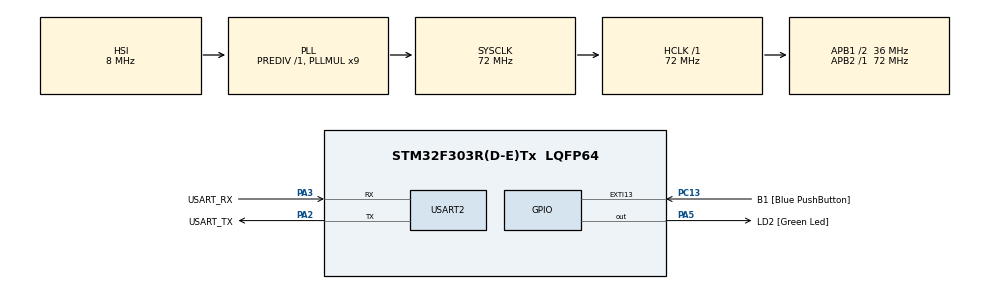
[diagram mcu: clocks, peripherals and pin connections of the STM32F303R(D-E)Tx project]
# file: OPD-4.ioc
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Mcu.Family=STM32F3
Mcu.Name=STM32F303R(D-E)Tx
Mcu.Package=LQFP64
NVIC.PriorityGroup=NVIC_PRIORITYGROUP_0
PA13.GPIO_Label=TMS
PA13.Mode=Serial_Wire
PA13.Signal=SYS_JTMS-SWDIO
PA14.GPIO_Label=TCK
PA14.Mode=Serial_Wire
PA14.Signal=SYS_JTCK-SWCLK
PA2.GPIO_Label=USART_TX
PA2.GPIO_Mode=GPIO_MODE_AF_PP
PA2.GPIO_PuPd=GPIO_NOPULL
PA2.GPIO_Speed=GPIO_SPEED_FREQ_LOW
PA2.Mode=Asynchronous
PA2.Signal=USART2_TX
PA3.GPIO_Label=USART_RX
PA3.GPIO_Mode=GPIO_MODE_AF_PP
PA3.GPIO_PuPd=GPIO_NOPULL
PA3.GPIO_Speed=GPIO_SPEED_FREQ_LOW
PA3.Mode=Asynchronous
PA3.Signal=USART2_RX
PA5.GPIO_Label=LD2 [Green Led]
PA5.GPIO_Mode=GPIO_MODE_OUTPUT_PP
PA5.GPIO_PuPd=GPIO_NOPULL
PA5.GPIO_Speed=GPIO_SPEED_FREQ_LOW
PA5.Signal=GPIO_Output
PB3.GPIO_Label=SWO
PB3.Signal=SYS_JTDO-TRACESWO
PC13.GPIO_Label=B1 [Blue PushButton]
PC13.GPIO_ModeDefaultEXTI=GPIO_MODE_IT_FALLING
PC13.Signal=GPXTI13
PC14-OSC32_IN.Mode=LSE-External-Oscillator
PC14-OSC32_IN.Signal=RCC_OSC32_IN
PC15-OSC32_OUT.Mode=LSE-External-Oscillator
PC15-OSC32_OUT.Signal=RCC_OSC32_OUT
PF0-OSC_IN.Mode=HSE-External-Clock-Source
PF0-OSC_IN.Signal=RCC_OSC_IN
PF1-OSC_OUT.Signal=RCC_OSC_OUT
ProjectManager.HeapSize=0x200
ProjectManager.StackSize=0x400
ProjectManager.TargetToolchain=STM32CubeIDE
RCC.AHBFreq_Value=72000000
RCC.APB1CLKDivider=RCC_HCLK_DIV2
RCC.APB1Freq_Value=36000000
RCC.APB1TimFreq_Value=72000000
RCC.APB2Freq_Value=72000000
RCC.APB2TimFreq_Value=72000000
RCC.CortexFreq_Value=72000000
RCC.HCLKFreq_Value=72000000
RCC.HSE_VALUE=8000000
RCC.HSI_VALUE=8000000
RCC.PLLM=8
RCC.PLLMUL=RCC_PLL_MUL9
RCC.PLLN=336
RCC.PLLP=RCC_PLLP_DIV4
RCC.PLLQ=7
RCC.RCC_PLLsource_Clock_Source_FROM_HSE=RCC_HSE_PREDIV_DIV2
RCC.SYSCLKFreq_VALUE=72000000
RCC.SYSCLKSourceVirtual=RCC_SYSCLKSOURCE_PLLCLK
RCC.USBFreq_Value=72000000
USART2.VirtualMode-Asynchronous=VM_ASYNC
board=NUCLEO-F303RE

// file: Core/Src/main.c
/* USER CODE BEGIN Header */
/**
  ******************************************************************************
  * @file           : main.c
  * @brief          : Main program body
  ******************************************************************************
  * @attention
  *
  * Copyright (c) 2026 STMicroelectronics.
  * All rights reserved.
  *
  * This software is licensed under terms that can be found in the LICENSE file
  * in the root directory of this software component.
  * If no LICENSE file comes with this software, it is provided AS-IS.
  *
  ******************************************************************************
  */
/* USER CODE END Header */
#include "main.h"

/* USER CODE BEGIN Includes */
#include <string.h>
#include <stdlib.h>
/* USER CODE END Includes */

UART_HandleTypeDef huart2;

void SystemClock_Config(void);
static void MX_GPIO_Init(void);
static void MX_USART2_UART_Init(void);

int main(void)
{

  /* MCU Configuration--------------------------------------------------------*/

  /* Reset of all peripherals, Initializes the Flash interface and the Systick. */
  HAL_Init();

  /* Configure the system clock */
  SystemClock_Config();

  /* Initialize all configured peripherals */
  MX_GPIO_Init();
  MX_USART2_UART_Init();

  /* Infinite loop */
  /* USER CODE BEGIN WHILE */
  while (1)
  {
    const char *prompt = "\r\nVoer een waarde in: ";
    const char *resultPrefix = "\r\nAantal knippers: ";
    const char *newline = "\r\n";
    char inputBuffer[12];
    uint8_t rxChar = 0;
    uint8_t index = 0;
    int blinkCount = 0;

    HAL_UART_Transmit(&huart2, (uint8_t *)prompt, strlen(prompt), HAL_MAX_DELAY);

    while (1)
    {
      if (HAL_UART_Receive(&huart2, &rxChar, 1, HAL_MAX_DELAY) == HAL_OK)
      {
        if ((rxChar == '\r') || (rxChar == '\n'))
        {
          HAL_UART_Transmit(&huart2, (uint8_t *)newline, strlen(newline), HAL_MAX_DELAY);
          break;
        }

        if ((rxChar >= '0') && (rxChar <= '9') && (index < (sizeof(inputBuffer) - 1)))
        {
          inputBuffer[index++] = (char)rxChar;
          HAL_UART_Transmit(&huart2, &rxChar, 1, HAL_MAX_DELAY);
        }
      }
    }

    inputBuffer[index] = '\0';
    blinkCount = atoi(inputBuffer);

    HAL_UART_Transmit(&huart2, (uint8_t *)resultPrefix, strlen(resultPrefix), HAL_MAX_DELAY);
    HAL_UART_Transmit(&huart2, (uint8_t *)inputBuffer, strlen(inputBuffer), HAL_MAX_DELAY);
    HAL_UART_Transmit(&huart2, (uint8_t *)newline, strlen(newline), HAL_MAX_DELAY);

    for (int i = 0; i < blinkCount; i++)
    {
      HAL_GPIO_WritePin(LD2_GPIO_Port, LD2_Pin, GPIO_PIN_SET);
      HAL_Delay(200);
      HAL_GPIO_WritePin(LD2_GPIO_Port, LD2_Pin, GPIO_PIN_RESET);
      HAL_Delay(200);
    }
    /* USER CODE END WHILE */

  }
}

void SystemClock_Config(void)
{
  RCC_OscInitTypeDef RCC_OscInitStruct = {0};
  RCC_ClkInitTypeDef RCC_ClkInitStruct = {0};
  RCC_PeriphCLKInitTypeDef PeriphClkInit = {0};

  /** Initializes the RCC Oscillators according to the specified parameters
  * in the RCC_OscInitTypeDef structure.
  */
  RCC_OscInitStruct.OscillatorType = RCC_OSCILLATORTYPE_HSI;
  RCC_OscInitStruct.HSIState = RCC_HSI_ON;
  RCC_OscInitStruct.HSICalibrationValue = RCC_HSICALIBRATION_DEFAULT;
  RCC_OscInitStruct.PLL.PLLState = RCC_PLL_ON;
  RCC_OscInitStruct.PLL.PLLSource = RCC_PLLSOURCE_HSI;
  RCC_OscInitStruct.PLL.PLLMUL = RCC_PLL_MUL9;
  RCC_OscInitStruct.PLL.PREDIV = RCC_PREDIV_DIV1;
  if (HAL_RCC_OscConfig(&RCC_OscInitStruct) != HAL_OK)
  {
    Error_Handler();
  }

  /** Initializes the CPU, AHB and APB buses clocks
  */
  RCC_ClkInitStruct.ClockType = RCC_CLOCKTYPE_HCLK|RCC_CLOCKTYPE_SYSCLK
                              |RCC_CLOCKTYPE_PCLK1|RCC_CLOCKTYPE_PCLK2;
  RCC_ClkInitStruct.SYSCLKSource = RCC_SYSCLKSOURCE_PLLCLK;
  RCC_ClkInitStruct.AHBCLKDivider = RCC_SYSCLK_DIV1;
  RCC_ClkInitStruct.APB1CLKDivider = RCC_HCLK_DIV2;
  RCC_ClkInitStruct.APB2CLKDivider = RCC_HCLK_DIV1;

  if (HAL_RCC_ClockConfig(&RCC_ClkInitStruct, FLASH_LATENCY_2) != HAL_OK)
  {
    Error_Handler();
  }
  PeriphClkInit.PeriphClockSelection = RCC_PERIPHCLK_USART2;
  PeriphClkInit.Usart2ClockSelection = RCC_USART2CLKSOURCE_PCLK1;
  if (HAL_RCCEx_PeriphCLKConfig(&PeriphClkInit) != HAL_OK)
  {
    Error_Handler();
  }
}

static void MX_USART2_UART_Init(void)
{

  huart2.Instance = USART2;
  huart2.Init.BaudRate = 38400;
  huart2.Init.WordLength = UART_WORDLENGTH_8B;
  huart2.Init.StopBits = UART_STOPBITS_1;
  huart2.Init.Parity = UART_PARITY_NONE;
  huart2.Init.Mode = UART_MODE_TX_RX;
  huart2.Init.HwFlowCtl = UART_HWCONTROL_NONE;
  huart2.Init.OverSampling = UART_OVERSAMPLING_16;
  huart2.Init.OneBitSampling = UART_ONE_BIT_SAMPLE_DISABLE;
  huart2.AdvancedInit.AdvFeatureInit = UART_ADVFEATURE_NO_INIT;
  if (HAL_UART_Init(&huart2) != HAL_OK)
  {
    Error_Handler();
  }

}

static void MX_GPIO_Init(void)
{
  GPIO_InitTypeDef GPIO_InitStruct = {0};

  /* GPIO Ports Clock Enable */
  __HAL_RCC_GPIOC_CLK_ENABLE();
  __HAL_RCC_GPIOF_CLK_ENABLE();
  __HAL_RCC_GPIOA_CLK_ENABLE();
  __HAL_RCC_GPIOB_CLK_ENABLE();

  /*Configure GPIO pin Output Level */
  HAL_GPIO_WritePin(LD2_GPIO_Port, LD2_Pin, GPIO_PIN_RESET);

  /*Configure GPIO pin : B1_Pin */
  GPIO_InitStruct.Pin = B1_Pin;
  GPIO_InitStruct.Mode = GPIO_MODE_IT_FALLING;
  GPIO_InitStruct.Pull = GPIO_NOPULL;
  HAL_GPIO_Init(B1_GPIO_Port, &GPIO_InitStruct);

  /*Configure GPIO pin : LD2_Pin */
  GPIO_InitStruct.Pin = LD2_Pin;
  GPIO_InitStruct.Mode = GPIO_MODE_OUTPUT_PP;
  GPIO_InitStruct.Pull = GPIO_NOPULL;
  GPIO_InitStruct.Speed = GPIO_SPEED_FREQ_LOW;
  HAL_GPIO_Init(LD2_GPIO_Port, &GPIO_InitStruct);

}

void Error_Handler(void)
{
  __disable_irq();
  while (1)
  {
  }
}
